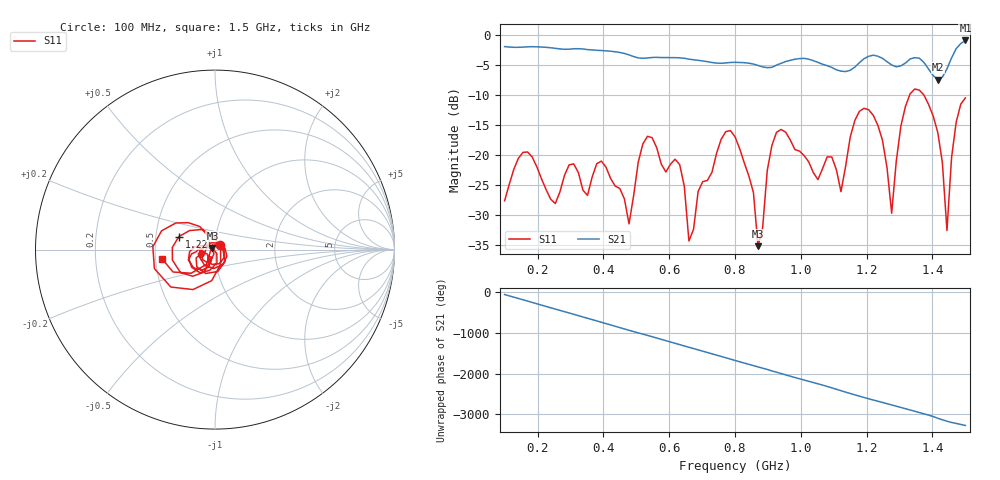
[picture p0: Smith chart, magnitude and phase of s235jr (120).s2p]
! NanoVNA-App
! Date: 2025-09-26 09:45:43
! Start: 100MHz Stop: 1,5GHz Points: 101
! S-Parameter data: F S11 S21 S12 S22
# Hz S RI R 50
!  Frequency  S11_Real  S11_Imag  S21_Real  S21_Imag  S12_Real  S12_Imag  S22_Real  S22_Imag
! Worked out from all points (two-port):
!   101 points, 100 MHz to 1.5 GHz, reference 50 ohm
!   highest |S21| = -0.93 dB at 1.5 GHz (marker M1); lowest = -7.4 dB at 1.416 GHz (marker M2)
!   |S21| within 3 dB of the highest: start of sweep to 649.1 MHz; 1.193 GHz to 1.249 GHz (55.34 MHz wide, 4.53 % of centre)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
!   lowest |S11| = -35.2 dB at 870 MHz (marker M3), VSWR 1.04, Z = 48.6 + j0.947 ohm
!   |S11| at or under -10 dB: start of sweep to 1.331 GHz; 1.374 GHz to end of sweep
!   S12 and S22 are empty: the file has one direction only
!   S11 on the Smith chart (normalised r, x): 100 MHz: 1.06, +0.06; 1.22 GHz: 0.66, +0.10; 1.5 GHz: 0.54, -0.06
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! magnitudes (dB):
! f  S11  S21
! 100 MHz  -27.6  -2.0
! 156 MHz  -19.6  -2.0
! 338 MHz  -25.9  -2.3
! 394 MHz  -21.0  -2.6
! 478 MHz  -31.5  -3.3
! 520 MHz  -18.2  -3.9
! 576 MHz  -21.5  -3.8
! 632 MHz  -21.6  -3.8
! 660 MHz  -34.3  -4.0
! 800 MHz  -17.0  -4.6
! 870 MHz  -35.2  -5.1
! 926 MHz  -16.3  -5.0
! 1.038 GHz  -22.9  -4.3
! 1.122 GHz  -26.1  -6.0
! 1.164 GHz  -14.3  -5.4
! 1.22 GHz  -13.4  -3.4
! 1.276 GHz  -29.7  -5.0
! 1.332 GHz  -9.8  -4.0
! 1.416 GHz  -16.2  -7.4
! 1.444 GHz  -32.6  -5.7
! 1.472 GHz  -14.5  -2.3
! 1.5 GHz  -10.5  -0.9
